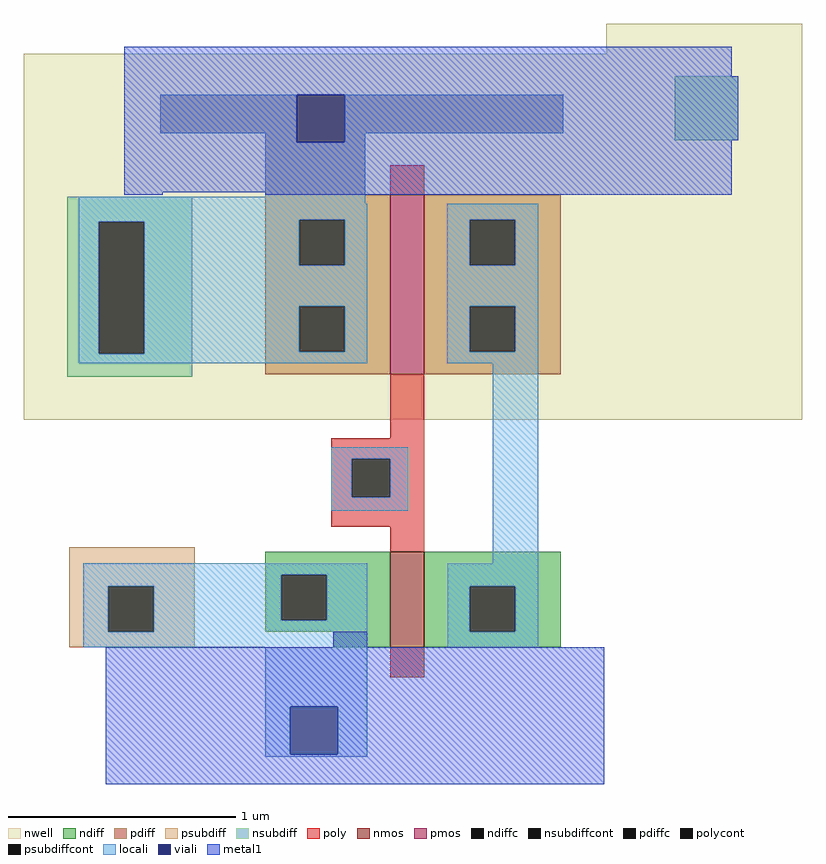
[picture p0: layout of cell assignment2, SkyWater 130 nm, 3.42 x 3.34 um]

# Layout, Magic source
magic
tech sky130A
<< nwell >>
rect 85 244 171 257
rect -171 83 171 244
<< nmos >>
rect -10 -17 5 25
<< pmos >>
rect -10 103 5 182
<< ndiff >>
rect -65 15 -10 25
rect -65 -5 -58 15
rect -38 -5 -10 15
rect -65 -10 -10 -5
rect -35 -17 -10 -10
rect 5 10 65 25
rect 5 -10 25 10
rect 45 -10 65 10
rect 5 -17 65 -10
<< pdiff >>
rect -111 209 66 226
rect -65 182 -21 209
rect -65 171 -10 182
rect -65 151 -50 171
rect -30 151 -10 171
rect -65 133 -10 151
rect -65 113 -50 133
rect -30 113 -10 133
rect -65 103 -10 113
rect 5 171 65 182
rect 5 151 25 171
rect 45 151 65 171
rect 5 133 65 151
rect 5 113 25 133
rect 45 113 65 133
rect 5 103 65 113
<< ndiffc >>
rect -58 -5 -38 15
rect 25 -10 45 10
<< pdiffc >>
rect -50 151 -30 171
rect -50 113 -30 133
rect 25 151 45 171
rect 25 113 45 133
<< psubdiff >>
rect -151 10 -96 27
rect -151 -10 -134 10
rect -114 -10 -96 10
rect -151 -17 -96 -10
<< nsubdiff >>
rect 115 206 143 234
rect -152 170 -97 181
rect -152 112 -138 170
rect -118 112 -97 170
rect -152 102 -97 112
<< psubdiffcont >>
rect -134 -10 -114 10
<< nsubdiffcont >>
rect -138 112 -118 170
<< poly >>
rect -10 182 5 195
rect -10 75 5 103
rect -36 66 5 75
rect -36 49 -27 66
rect -10 49 5 66
rect -36 36 5 49
rect -10 25 5 36
rect -10 -30 5 -17
<< polycont >>
rect -27 49 -10 66
<< locali >>
rect -111 209 -51 226
rect -65 205 -51 209
rect -30 209 66 226
rect -30 205 -21 209
rect -65 181 -21 205
rect -147 178 -21 181
rect -147 171 -20 178
rect -147 170 -50 171
rect -147 112 -138 170
rect -118 151 -50 170
rect -30 151 -20 171
rect -118 133 -20 151
rect -118 113 -50 133
rect -30 113 -20 133
rect -118 112 -20 113
rect -147 108 -20 112
rect 15 171 55 178
rect 15 151 25 171
rect 45 151 55 171
rect 15 133 55 151
rect 15 113 25 133
rect 45 113 55 133
rect 15 108 55 113
rect -36 66 -2 71
rect -36 49 -27 66
rect -10 49 -2 66
rect -36 43 -2 49
rect 35 20 55 108
rect -145 15 -20 20
rect -145 10 -58 15
rect -145 -10 -134 10
rect -114 -5 -58 10
rect -38 -5 -20 15
rect -114 -10 -20 -5
rect -145 -17 -20 -10
rect 15 10 55 20
rect 15 -10 25 10
rect 45 -10 55 10
rect 15 -17 55 -10
rect -65 -43 -20 -17
rect -65 -64 -54 -43
rect -33 -64 -20 -43
rect -65 -65 -20 -64
<< viali >>
rect -51 205 -30 226
rect -54 -64 -33 -43
<< metal1 >>
rect -127 234 140 247
rect -127 226 143 234
rect -127 205 -51 226
rect -30 206 143 226
rect -30 205 140 206
rect -127 183 140 205
rect -127 182 -110 183
rect -65 182 140 183
rect -35 -17 -20 -10
rect -135 -43 84 -17
rect -135 -64 -54 -43
rect -33 -64 84 -43
rect -135 -77 84 -64
<< end >>
